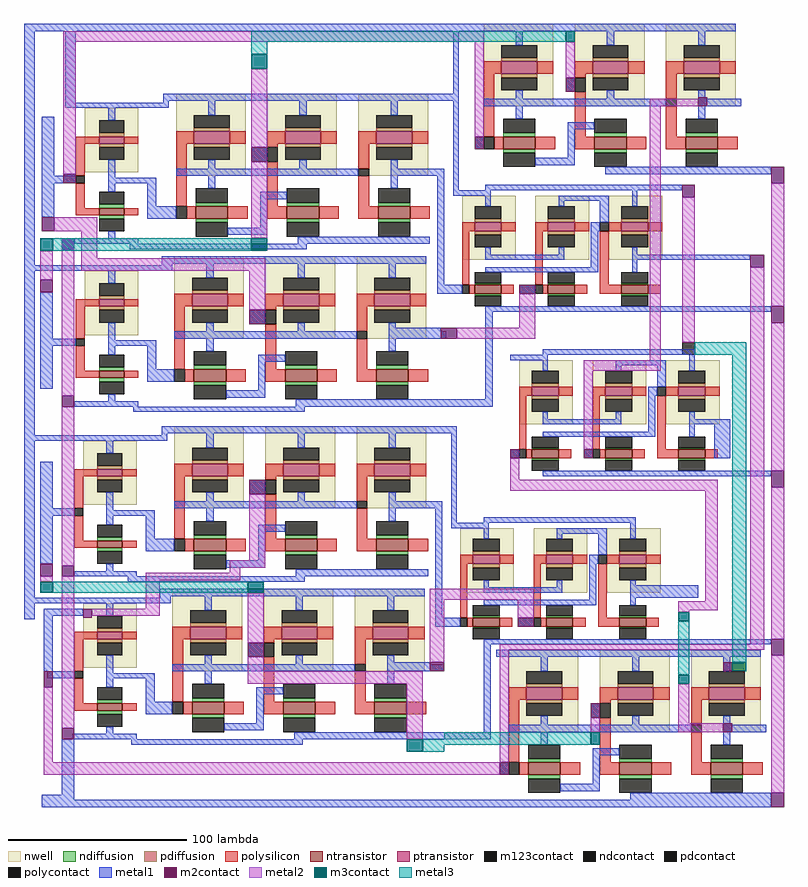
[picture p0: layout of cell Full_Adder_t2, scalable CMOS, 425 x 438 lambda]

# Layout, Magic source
magic
tech scmos
<< metal1 >>
rect -125 97 141 101
rect -125 -34 -119 97
rect -102 54 -96 97
rect 115 58 118 97
rect -115 -7 -108 49
rect 267 17 293 21
rect 214 8 243 11
rect -97 -22 -85 -19
rect 231 -31 281 -28
rect -125 -37 -87 -34
rect -125 -129 -119 -37
rect -116 -103 -109 -49
rect 212 -60 293 -57
rect 83 -75 108 -69
rect -97 -113 -84 -110
rect -125 -132 -87 -129
rect -125 -220 -119 -132
rect 261 -142 270 -120
rect -116 -201 -109 -144
rect 258 -152 293 -149
rect -97 -208 -92 -205
rect 217 -220 252 -213
rect -125 -223 -86 -220
rect -125 -232 -119 -223
rect -114 -230 -92 -226
rect -114 -261 -109 -230
rect 223 -246 293 -243
rect 80 -261 102 -256
rect -109 -265 -104 -261
rect -97 -299 -86 -296
rect -104 -330 -97 -299
rect -115 -333 -97 -330
rect 214 -333 293 -329
rect -115 -337 293 -333
<< m2contact >>
rect 178 63 183 71
rect 252 55 257 60
rect 2 24 11 32
rect 127 31 132 38
rect -103 12 -96 17
rect 293 12 300 21
rect 243 4 250 11
rect -115 -15 -108 -7
rect -104 -25 -97 -19
rect 281 -35 289 -28
rect -116 -49 -109 -42
rect 152 -50 161 -45
rect 1 -67 10 -59
rect 293 -66 300 -57
rect 108 -75 117 -69
rect -104 -113 -97 -107
rect 147 -142 152 -137
rect 188 -142 193 -137
rect 1 -162 10 -154
rect 293 -158 300 -149
rect -116 -208 -109 -201
rect -104 -208 -97 -202
rect -92 -231 -87 -226
rect 151 -236 160 -231
rect 0 -253 9 -245
rect 293 -252 300 -243
rect 102 -261 110 -256
rect 266 -261 271 -256
rect -114 -270 -109 -261
rect 192 -287 197 -279
rect -104 -299 -97 -293
rect 266 -295 271 -290
rect 141 -319 146 -312
rect 293 -337 300 -329
<< metal2 >>
rect -103 91 132 97
rect -103 17 -96 91
rect 2 32 11 76
rect 127 38 132 91
rect 178 71 183 91
rect 225 55 252 59
rect -108 -15 -84 -7
rect -116 -42 -109 -26
rect -104 -107 -97 -25
rect -93 -30 -84 -15
rect 2 -19 11 24
rect -93 -37 10 -30
rect 1 -59 10 -37
rect 152 -69 161 -50
rect 117 -75 161 -69
rect 225 -87 231 55
rect 243 -77 250 4
rect -116 -211 -109 -208
rect -104 -202 -97 -113
rect 188 -93 231 -87
rect 188 -137 193 -93
rect 147 -154 152 -142
rect 147 -160 263 -154
rect 1 -199 10 -162
rect -10 -203 10 -199
rect -10 -206 -4 -203
rect -114 -312 -109 -270
rect -104 -293 -97 -208
rect -57 -210 -4 -206
rect -57 -226 -49 -210
rect -87 -230 -49 -226
rect 0 -245 9 -217
rect 0 -261 9 -253
rect 102 -221 160 -215
rect 102 -256 110 -221
rect 151 -231 160 -221
rect 256 -222 263 -160
rect 241 -227 263 -222
rect 241 -228 247 -227
rect 281 -246 289 -35
rect 141 -249 289 -246
rect 293 -57 300 12
rect 293 -149 300 -66
rect 293 -243 300 -158
rect 0 -268 98 -261
rect 89 -299 98 -268
rect 141 -312 146 -249
rect 192 -295 197 -287
rect 241 -290 247 -268
rect 241 -295 266 -290
rect -114 -319 141 -312
rect 293 -329 300 -252
<< m3contact >>
rect 2 76 11 84
rect 178 91 183 97
rect -116 -26 -109 -19
rect 2 -26 11 -19
rect -116 -217 -109 -211
rect 0 -217 9 -211
rect 241 -233 247 -228
rect 89 -306 98 -299
rect 271 -261 279 -256
rect 241 -268 247 -263
rect 192 -302 197 -295
<< m123contact >>
rect 243 -84 250 -77
<< metal3 >>
rect 2 91 178 97
rect 2 84 11 91
rect -109 -26 2 -19
rect 250 -84 279 -77
rect -109 -217 0 -211
rect 241 -263 247 -233
rect 271 -256 279 -84
rect 110 -299 192 -295
rect 98 -302 192 -299
rect 98 -306 110 -302
use XOR  XOR_0 /home/vsoham
transform 1 0 33 0 1 -27
box -144 -89 205 89
use XOR  XOR_1
transform 1 0 32 0 1 -213
box -144 -89 205 89
use OR_2  OR_2_0 /home/vsoham
transform 1 0 194 0 1 -121
box -47 -31 71 40
use AND_2  AND_2_0 /home/vsoham
transform 1 0 133 0 1 54
box -8 -37 143 47
use AND_2  AND_2_1
transform 1 0 147 0 1 -296
box -8 -37 143 47
<< end >>

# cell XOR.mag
magic
tech scmos
<< metal1 >>
rect -80 84 -77 89
rect 61 85 85 89
rect -135 81 -120 84
rect -96 81 -77 84
rect -31 51 -24 59
rect 68 43 77 47
rect -144 39 -129 43
rect -97 39 -84 42
rect -89 26 -84 39
rect -89 19 -73 26
rect -129 5 -121 8
rect -99 5 -94 8
rect -5 5 0 9
rect -99 2 0 5
rect -81 -7 -75 -2
rect -135 -10 -119 -7
rect -96 -10 -75 -7
rect 73 -18 77 43
rect 82 32 85 85
rect 194 -4 205 -1
rect 73 -23 87 -18
rect 119 -23 125 -18
rect -32 -40 -25 -32
rect 65 -48 78 -44
rect -144 -52 -129 -48
rect -101 -52 -84 -49
rect -89 -65 -84 -52
rect -89 -72 -74 -65
rect 100 -82 104 -30
rect -130 -86 -118 -83
rect -97 -86 -94 -83
rect -6 -86 -1 -82
rect 63 -86 104 -82
rect -97 -89 -1 -86
use OR_2  OR_2_0 /home/vsoham
transform 1 0 129 0 1 -2
box -47 -31 71 40
use AND_2  AND_2_1 /home/vsoham
transform 1 0 -73 0 1 -49
box -8 -37 143 47
use AND_2  AND_2_0
transform 1 0 -72 0 1 42
box -8 -37 143 47
use CMOS_in  CMOS_in_1 /home/vsoham
transform 1 0 -124 0 1 -46
box -13 -40 30 39
use CMOS_in  CMOS_in_0
transform 1 0 -124 0 1 45
box -13 -40 30 39
<< labels >>
flabel metal1 -144 -52 -137 -48 0 FreeSans 9 0 0 0 B
flabel metal1 -144 39 -137 43 0 FreeSans 9 0 0 0 A
flabel metal1 194 -4 205 -1 0 FreeSans 9 0 0 0 OUT
flabel metal1 65 -48 78 -44 0 FreeSans 9 0 0 0 ABc
flabel metal1 119 -23 125 -18 0 FreeSans 9 0 0 0 ABc
flabel metal1 -31 51 -24 59 0 FreeSans 9 0 0 0 B
flabel metal1 -32 -40 -25 -32 0 FreeSans 9 0 0 0 A
flabel metal1 -135 81 -123 84 0 FreeSans 9 0 0 0 VDD
flabel metal1 -135 -10 -123 -7 0 FreeSans 9 0 0 0 VDD
flabel metal1 -130 -86 -118 -83 0 FreeSans 9 0 0 0 GND
flabel metal1 -129 5 -121 8 0 FreeSans 9 0 0 0 GND
<< end >>

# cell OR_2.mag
magic
tech scmos
<< nwell >>
rect -42 -2 -12 34
rect -1 -2 29 34
rect 40 -2 70 34
<< ntransistor >>
rect -35 -21 -20 -16
rect 6 -21 21 -16
rect 47 -21 62 -16
<< ptransistor >>
rect -35 14 -20 19
rect 6 14 21 19
rect 47 14 62 19
<< ndiffusion >>
rect -35 -16 -20 -15
rect 6 -16 21 -15
rect 47 -16 62 -15
rect -35 -22 -20 -21
rect 6 -22 21 -21
rect 47 -22 62 -21
<< pdiffusion >>
rect -35 19 -20 21
rect 6 19 21 21
rect 47 19 62 21
rect -35 12 -20 14
rect 6 12 21 14
rect 47 12 62 14
<< ndcontact >>
rect -35 -15 -20 -9
rect 6 -15 21 -9
rect 47 -15 62 -9
rect -35 -28 -20 -22
rect 6 -28 21 -22
rect 47 -28 62 -22
<< pdcontact >>
rect -35 21 -20 28
rect 6 21 21 28
rect 47 21 62 28
rect -35 5 -20 12
rect 6 5 21 12
rect 47 5 62 12
<< polysilicon >>
rect -42 14 -35 19
rect -20 14 -12 19
rect -1 14 6 19
rect 21 14 29 19
rect 40 14 47 19
rect 62 14 70 19
rect -42 -16 -38 14
rect -1 -16 3 14
rect 35 -16 40 14
rect -38 -21 -35 -16
rect -20 -21 -13 -16
rect 3 -21 6 -16
rect 21 -21 28 -16
rect 35 -21 47 -16
rect 62 -21 69 -16
<< polycontact >>
rect 35 14 40 19
rect -42 -21 -38 -16
rect -1 -21 3 -16
<< metal1 >>
rect -29 37 56 40
rect -47 34 -26 37
rect -29 28 -26 34
rect 12 31 40 34
rect 12 28 15 31
rect 35 19 40 31
rect 53 28 56 37
rect 30 14 35 19
rect -29 1 -26 5
rect 12 1 15 5
rect -29 -2 15 1
rect 30 -6 34 14
rect -29 -9 34 -6
rect 53 1 56 5
rect 53 -2 71 1
rect 53 -9 56 -2
rect -47 -21 -42 -16
rect -6 -21 -1 -16
rect -29 -31 69 -28
<< end >>

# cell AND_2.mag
magic
tech scmos
<< nwell >>
rect -1 1 38 47
rect 50 1 89 47
rect 101 1 140 47
<< ntransistor >>
rect 10 -23 28 -16
rect 61 -23 79 -16
rect 112 -23 130 -16
<< ptransistor >>
rect 9 19 29 26
rect 60 19 80 26
rect 111 19 131 26
<< ndiffusion >>
rect 10 -16 28 -14
rect 61 -16 79 -14
rect 112 -16 130 -14
rect 10 -25 28 -23
rect 61 -25 79 -23
rect 112 -25 130 -23
<< pdiffusion >>
rect 9 26 29 28
rect 60 26 80 28
rect 111 26 131 28
rect 9 17 29 19
rect 60 17 80 19
rect 111 17 131 19
<< ndcontact >>
rect 10 -14 28 -6
rect 61 -14 79 -6
rect 112 -14 130 -6
rect 10 -33 28 -25
rect 61 -33 79 -25
rect 112 -33 130 -25
<< pdcontact >>
rect 9 28 29 35
rect 60 28 80 35
rect 111 28 131 35
rect 9 10 29 17
rect 60 10 80 17
rect 111 10 131 17
<< polysilicon >>
rect -1 19 9 26
rect 29 19 38 26
rect 50 19 60 26
rect 80 19 89 26
rect 101 19 111 26
rect 131 19 140 26
rect -1 -16 5 19
rect 50 17 56 19
rect 50 -16 56 9
rect 101 5 107 19
rect 101 -16 107 1
rect 5 -23 10 -16
rect 28 -23 39 -16
rect 50 -23 61 -16
rect 79 -23 90 -16
rect 101 -23 112 -16
rect 130 -23 141 -16
<< polycontact >>
rect 50 9 56 17
rect 101 1 107 5
rect -1 -23 5 -16
<< metal1 >>
rect -8 43 140 47
rect 17 35 21 43
rect 68 35 72 43
rect 119 35 123 43
rect 17 5 21 10
rect 45 9 50 17
rect 68 5 72 10
rect 119 5 123 10
rect -1 1 101 5
rect 119 1 143 5
rect 17 -6 21 1
rect 119 -6 123 1
rect 46 -12 61 -8
rect -6 -23 -1 -16
rect 46 -28 50 -12
rect 28 -32 50 -28
rect 67 -37 141 -33
<< end >>

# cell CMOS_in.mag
magic
tech scmos
<< nwell >>
rect 0 0 30 36
<< ntransistor >>
rect 8 -24 22 -20
<< ptransistor >>
rect 8 16 22 20
<< ndiffusion >>
rect 8 -20 22 -18
rect 8 -26 22 -24
<< pdiffusion >>
rect 8 20 22 22
rect 8 14 22 16
<< ndcontact >>
rect 8 -18 22 -11
rect 8 -33 22 -26
<< pdcontact >>
rect 8 22 22 29
rect 8 7 22 14
<< polysilicon >>
rect -5 16 8 20
rect 22 16 30 20
rect -5 -2 0 16
rect -5 -20 0 -6
rect -5 -24 8 -20
rect 22 -24 30 -20
<< polycontact >>
rect -5 -6 0 -2
<< metal1 >>
rect 0 36 30 39
rect 13 29 17 36
rect -13 -6 -5 -2
rect 13 -3 17 7
rect 13 -6 30 -3
rect 13 -11 17 -6
rect 13 -37 17 -33
rect 0 -40 30 -37
<< end >>
